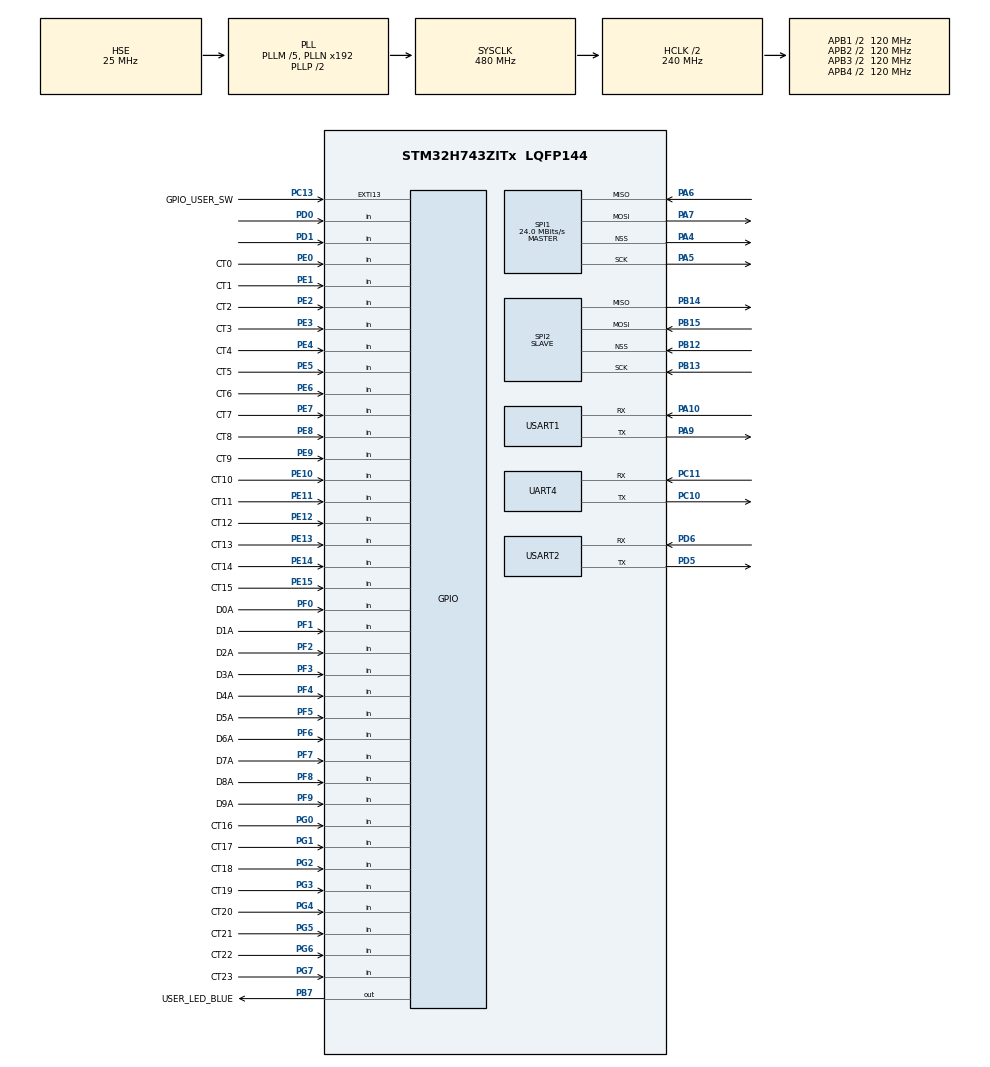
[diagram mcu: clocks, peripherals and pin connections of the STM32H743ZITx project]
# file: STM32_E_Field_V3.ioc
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CORTEX_M7.default_mode_Activation=1
IWDG1.Prescaler=IWDG_PRESCALER_64
IWDG1.Reload=4000
IWDG1.Window=4000
Mcu.Family=STM32H7
Mcu.Name=STM32H743ZITx
Mcu.Package=LQFP144
NVIC.PriorityGroup=NVIC_PRIORITYGROUP_4
PA10.GPIO_Speed=GPIO_SPEED_FREQ_VERY_HIGH
PA10.Mode=Asynchronous
PA10.Signal=USART1_RX
PA13\ (JTMS/SWDIO).Signal=DEBUG_JTMS-SWDIO
PA14\ (JTCK/SWCLK).Signal=DEBUG_JTCK-SWCLK
PA4.Mode=NSS_Signal_Hard_Output
PA4.Signal=SPI1_NSS
PA5.Mode=Full_Duplex_Master
PA5.Signal=SPI1_SCK
PA6.Mode=Full_Duplex_Master
PA6.Signal=SPI1_MISO
PA7.Mode=Full_Duplex_Master
PA7.Signal=SPI1_MOSI
PA9.GPIO_Speed=GPIO_SPEED_FREQ_VERY_HIGH
PA9.Mode=Asynchronous
PA9.Signal=USART1_TX
PB12.Mode=NSS_Signal_Hard_Input
PB12.Signal=SPI2_NSS
PB13.Mode=Full_Duplex_Slave
PB13.Signal=SPI2_SCK
PB14.Mode=Full_Duplex_Slave
PB14.Signal=SPI2_MISO
PB15.Mode=Full_Duplex_Slave
PB15.Signal=SPI2_MOSI
PB7.GPIO_Label=USER_LED_BLUE
PB7.Signal=GPIO_Output
PC10.GPIO_Speed=GPIO_SPEED_FREQ_VERY_HIGH
PC10.Mode=Asynchronous
PC10.Signal=UART4_TX
PC11.GPIO_Speed=GPIO_SPEED_FREQ_VERY_HIGH
PC11.Mode=Asynchronous
PC11.Signal=UART4_RX
PC13.GPIO_Label=GPIO_USER_SW
PC13.Signal=GPXTI13
PD0.Signal=GPIO_Input
PD1.Signal=GPIO_Input
PD5.GPIO_Speed=GPIO_SPEED_FREQ_VERY_HIGH
PD5.Mode=Asynchronous
PD5.Signal=USART2_TX
PD6.GPIO_Speed=GPIO_SPEED_FREQ_VERY_HIGH
PD6.Mode=Asynchronous
PD6.Signal=USART2_RX
PD8.Signal=USART3_TX
PD9.Signal=USART3_RX
PE0.GPIO_Label=CT0
PE0.Signal=GPIO_Input
PE1.GPIO_Label=CT1
PE1.Signal=GPIO_Input
PE10.GPIO_Label=CT10
PE10.Signal=GPIO_Input
PE11.GPIO_Label=CT11
PE11.Signal=GPIO_Input
PE12.GPIO_Label=CT12
PE12.Signal=GPIO_Input
PE13.GPIO_Label=CT13
PE13.Signal=GPIO_Input
PE14.GPIO_Label=CT14
PE14.Signal=GPIO_Input
PE15.GPIO_Label=CT15
PE15.Signal=GPIO_Input
PE2.GPIO_Label=CT2
PE2.Signal=GPIO_Input
PE3.GPIO_Label=CT3
PE3.Signal=GPIO_Input
PE4.GPIO_Label=CT4
PE4.Signal=GPIO_Input
PE5.GPIO_Label=CT5
PE5.Signal=GPIO_Input
PE6.GPIO_Label=CT6
PE6.Signal=GPIO_Input
PE7.GPIO_Label=CT7
PE7.Signal=GPIO_Input
PE8.GPIO_Label=CT8
PE8.Signal=GPIO_Input
PE9.GPIO_Label=CT9
PE9.Signal=GPIO_Input
PF0.GPIO_Label=D0A
PF0.Signal=GPIO_Input
PF1.GPIO_Label=D1A
PF1.Signal=GPIO_Input
PF2.GPIO_Label=D2A
PF2.Signal=GPIO_Input
PF3.GPIO_Label=D3A
PF3.Signal=GPIO_Input
PF4.GPIO_Label=D4A
PF4.Signal=GPIO_Input
PF5.GPIO_Label=D5A
PF5.Signal=GPIO_Input
PF6.GPIO_Label=D6A
PF6.Signal=GPIO_Input
PF7.GPIO_Label=D7A
PF7.Signal=GPIO_Input
PF8.GPIO_Label=D8A
PF8.Signal=GPIO_Input
PF9.GPIO_Label=D9A
PF9.Signal=GPIO_Input
PG0.GPIO_Label=CT16
PG0.Signal=GPIO_Input
PG1.GPIO_Label=CT17
PG1.Signal=GPIO_Input
PG2.GPIO_Label=CT18
PG2.Signal=GPIO_Input
PG3.GPIO_Label=CT19
PG3.Signal=GPIO_Input
PG4.GPIO_Label=CT20
PG4.Signal=GPIO_Input
PG5.GPIO_Label=CT21
PG5.Signal=GPIO_Input
PG6.GPIO_Label=CT22
PG6.Signal=GPIO_Input
PG7.GPIO_Label=CT23
PG7.Signal=GPIO_Input
PH0-OSC_IN\ (PH0).Mode=HSE-External-Oscillator
PH0-OSC_IN\ (PH0).Signal=RCC_OSC_IN
PH1-OSC_OUT\ (PH1).Mode=HSE-External-Oscillator
PH1-OSC_OUT\ (PH1).Signal=RCC_OSC_OUT
ProjectManager.HeapSize=0x200
ProjectManager.StackSize=0x400
ProjectManager.TargetToolchain=STM32CubeIDE
RCC.ADCFreq_Value=50390625
RCC.APB1Freq_Value=120000000
RCC.APB2Freq_Value=120000000
RCC.APB3Freq_Value=120000000
RCC.APB4Freq_Value=120000000
RCC.CortexFreq_Value=480000000
RCC.D1PPRE=RCC_APB3_DIV2
RCC.D2PPRE1=RCC_APB1_DIV2
RCC.D2PPRE2=RCC_APB2_DIV2
RCC.D3PPRE=RCC_APB4_DIV2
RCC.DIVM1=5
RCC.DIVN1=192
RCC.DIVQ1=5
RCC.HCLKFreq_Value=240000000
RCC.HPRE=RCC_HCLK_DIV2
RCC.HSE_VALUE=25000000
RCC.PLLFRACN=0
RCC.PLLSourceVirtual=RCC_PLLSOURCE_HSE
RCC.SYSCLKFreq_VALUE=480000000
RCC.SYSCLKSource=RCC_SYSCLKSOURCE_PLLCLK
RCC.USBFreq_Value=192000000
SPI1.BaudRatePrescaler=SPI_BAUDRATEPRESCALER_8
SPI1.CalculateBaudRate=24.0 MBits/s
SPI1.DataSize=SPI_DATASIZE_8BIT
SPI1.Direction=SPI_DIRECTION_2LINES
SPI1.Mode=SPI_MODE_MASTER
SPI1.NSSPMode=SPI_NSS_PULSE_DISABLE
SPI1.VirtualNSS=VM_NSSHARD
SPI1.VirtualType=VM_MASTER
SPI2.DataSize=SPI_DATASIZE_8BIT
SPI2.Direction=SPI_DIRECTION_2LINES
SPI2.Mode=SPI_MODE_SLAVE
SPI2.VirtualNSS=VM_NSSHARD
SPI2.VirtualType=VM_SLAVE
USART1.VirtualMode-Asynchronous=VM_ASYNC
USART2.VirtualMode-Asynchronous=VM_ASYNC
VP_IWDG1_VS_IWDG.Mode=IWDG_Activate
VP_MEMORYMAP_VS_MEMORYMAP.Mode=CurAppReg
board=custom

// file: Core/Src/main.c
/* USER CODE BEGIN Header */
/**
  ******************************************************************************
  * @file           : main.c
  * @brief          : Main program body
  ******************************************************************************
  * @attention
  *
  * Copyright (c) 2025 STMicroelectronics.
  * All rights reserved.
  *
  ******************************************************************************
  *
  *  === DMA CAPTURE VERSION ==================================================
  *  TIM2 generates an Update event every (1 / SAMPLE_RATE_HZ) seconds.
  *  Each update triggers 4 DMA1 streams that copy GPIOB/E/F/G->IDR into
  *  4 separate circular buffers in AXI SRAM. CPU does ZERO work per sample.
  *
  *  On TRIG (EXTI PD1/PD3) we latch the current DMA write position, then in
  *  the main loop copy the pre-trigger window back into sample[] and run
  *  find_max_min() exactly as before.
  *
  *  >>> THINGS YOU MUST VERIFY FOR YOUR BOARD <<<
  *    1. Buffers MUST live in DMA-accessible RAM (AXI SRAM / SRAM1..3),
  *       NOT DTCM. See the ".axisram" section note below.
  *    2. TIM2_UP / DMA_REQUEST_TIM2_UP / DMA1 streams exist on your part.
  *    3. If D-Cache is ON, the SCB_InvalidateDCache_by_Addr() calls are needed
  *       (already included). aligned(32) + size multiple of 32 is required.
  *    4. EXTI1/EXTI3 IRQHandlers must not also be defined in stm32h7xx_it.c
  *       (remove them there if duplicated).
  *  ==========================================================================
  */
/* USER CODE END Header */
#include "main.h"

/* USER CODE BEGIN Includes */
#include <stdio.h>
#include <string.h>
/* USER CODE END Includes */

/* USER CODE BEGIN PTD */
typedef struct {
	uint16_t data_port_e;
	uint16_t data_port_f;
	uint16_t data_port_g;
} sample_t;

typedef struct {
	int16_t e_adc;
	uint32_t e_t;
	uint32_t counter;
} data_record_t;

typedef struct {
	int16_t max_e_adc;
	uint32_t max_e_t;
	float max_e_inp;
} max_sample_t;

typedef struct {
	int16_t min_e_adc;
	uint32_t min_e_t;
} min_sample_t;

typedef struct {
	uint8_t e_rec_type;
	int16_t e_max_adc;
	int16_t e_min_adc;
	uint32_t e_max_t;
	uint32_t e_min_t;
} record_t;

#define POL_TX_SIZE     4          /* ต้องตรงกับ POL_RX_SIZE ฝั่งรับ */
#define POL_TIMEOUT_MS  1000

typedef enum { POL_NEGATIVE = 0, POL_POSITIVE = 1 } polarity_t;

uint8_t polTxBuf[POL_TX_SIZE];
uint8_t polarity = POL_POSITIVE;   /* global — ยังไม่คิดวิธีหา */

volatile uint32_t trig_pos     = 0;   // DMA write index latched at trigger moment
volatile uint8_t  trigger_flag = 0;
uint32_t captured_count = 0;   // จำนวนที่เก็บได้จริง (global เผื่อ find_max_min ใช้)

/* USER CODE END PTD */

/* USER CODE BEGIN PD */
#define DEBUG_PRINT_DATA_ENABLE
#define DEBUG_SYSTEM_ENABLE

//#define WATCHDOG_DISABLE

#define SETTING_USE_DATASHEET_PARAM
//#define SETTING_INVERT_EW_CHANNEL

#define DELAY_SEC						1
#define MAX_BUF_SIZE					500

#define TB_MODE_0						0
#define TB_MODE_1						~(TB_MODE_0)
#define TB_MODE							TB_MODE_0

#define SAMPLE_READ_MAX					1000
#define ADC_R1         				 	10000.0
#define ADC_R2          				4320.0
#define BUFFER_SIZE 					2000

/* --- DMA sampling configuration ---------------------------------------------
 * TIM2 kernel clock on this clock tree = 240 MHz
 *   (HCLK = 480/2 = 240 MHz, APB1 /2 -> PCLK1 120 MHz, timer x2 -> 240 MHz)
 * ARR = (TIM2_CLK / SAMPLE_RATE_HZ) - 1
 *   1 MHz  -> ARR 239   (1.0 us / sample)
 *   2 MHz  -> ARR 119   (0.5 us / sample)
 *   ~3.3MHz-> ARR  71   (matches old read_adc ~300 ns)
 * Pick a rate the AHB bus + 4 parallel DMA can sustain; start safe, then push.
 */
#define TIM2_CLK_HZ						240000000UL
#define SAMPLE_RATE_HZ					1000000UL
#define TIM2_ARR						((TIM2_CLK_HZ / SAMPLE_RATE_HZ) - 1U)

#ifdef SETTING_USE_DATASHEET_PARAM
	#define ADC_VREF_P						2.048
	#define ADC_VREF_N						0.988
	#define ADC_OFFSET						1.52
#else
	#define ADC_VREF_P						2.003
	#define ADC_VREF_N						0.994
	#define ADC_OFFSET						1.55
#endif
/* USER CODE END PD */

/* USER CODE BEGIN PM */
/* DMA target buffers — MUST be in AXI SRAM (DMA cannot reach DTCM).
 * If your linker has no ".axisram" output section, either:
 *   (a) add one mapping to RAM_D1 (0x24000000) in your .ld, OR
 *   (b) remove the section attribute IF your project's default RAM is AXI SRAM
 *       (many CubeIDE H7 projects default to DTCM — do NOT leave it there).
 * aligned(32) + (BUFFER_SIZE*2) multiple of 32 -> safe for D-Cache maintenance.
 */
/* USER CODE END PM */

IWDG_HandleTypeDef hiwdg1;

SPI_HandleTypeDef hspi1;
SPI_HandleTypeDef hspi2;

UART_HandleTypeDef huart4;
UART_HandleTypeDef huart1;
UART_HandleTypeDef huart2;

/* USER CODE BEGIN PV */
UART_HandleTypeDef *esp_uart;
UART_HandleTypeDef *debug_uart;

sample_t sample[SAMPLE_READ_MAX];
sample_t ordered[SAMPLE_READ_MAX];   // <<< เพิ่มบรรทัดนี้
record_t rec;

/* USER CODE END PV */

void SystemClock_Config(void);
static void MPU_Config(void);
static void MX_GPIO_Init(void);
static void MX_IWDG1_Init(void);
static void MX_UART4_Init(void);
static void MX_USART1_UART_Init(void);
static void MX_USART2_UART_Init(void);
static void MX_SPI1_Init(void);
static void MX_SPI2_Init(void);
/* USER CODE BEGIN PFP */
void find_max_min();
void send_data();
void EXTI0_IRQHandler(void);
void EXTI1_IRQHandler(void);
void HAL_GPIO_EXTI_Callback(uint16_t GPIO_Pin);
void collect_samples(void);
void clear_buffer(void);
void reorder_samples(uint32_t n);
void send_polarity(uint8_t pol);
/* USER CODE END PFP */

/* USER CODE BEGIN 0 */
void delay_sec(int sec){
	int count_500ms = 0;
	do{
		if (HAL_IWDG_Refresh(&hiwdg1) != HAL_OK){
			Error_Handler();
		}
		HAL_Delay(500);
		count_500ms++;
	}while(count_500ms < (sec<<1));
}
/* USER CODE END 0 */

int main(void)
{

  /* MPU Configuration--------------------------------------------------------*/
  MPU_Config();

  /* MCU Configuration--------------------------------------------------------*/

  /* Reset of all peripherals, Initializes the Flash interface and the Systick. */
  HAL_Init();

  /* USER CODE BEGIN Init */
  // -- UART Mapping -- //
  esp_uart = &huart2;
  debug_uart = &huart4;
  /* USER CODE END Init */

  /* Configure the system clock */
  SystemClock_Config();

  /* Initialize all configured peripherals */
  MX_GPIO_Init();
  MX_IWDG1_Init();
  MX_UART4_Init();
  MX_USART1_UART_Init();
  MX_USART2_UART_Init();
  MX_SPI1_Init();
  MX_SPI2_Init();
  /* USER CODE BEGIN 2 */

  // Temp for debug
#ifdef WATCHDOG_DISABLE
  DBGMCU->APB1FZ |= DBGMCU_APB1_FZ_DBG_IWDG_STOP;
#endif

  printf("Last reset cause : ");

  if (__HAL_RCC_GET_FLAG(RCC_FLAG_IWDG1RST))
  {
      printf("IWDG1 timer");
  }
  else if (__HAL_RCC_GET_FLAG(RCC_FLAG_PINRST))
  {
      printf("Reset Pin");
  }
  else if (__HAL_RCC_GET_FLAG(RCC_FLAG_PORRST))
  {
      printf("Power On Reset");
  }
  else if (__HAL_RCC_GET_FLAG(RCC_FLAG_SFTRST))
  {
      printf("Software Reset");
  }
  else
  {
      printf("Other reason");
  }

  printf("\n");

  /* Clear reset flags */
  __HAL_RCC_CLEAR_RESET_FLAGS();

//  printf("Setup :\n");

 // printf("Main program started (DMA capture @ %lu Hz, ARR=%lu)\n",
 //        (unsigned long)SAMPLE_RATE_HZ, (unsigned long)TIM2_ARR);
  HAL_GPIO_WritePin(USER_LED_BLUE_GPIO_Port, USER_LED_BLUE_Pin, 0);
  /* USER CODE END 2 */

  /* Infinite loop */
  while (1)
  {
	 		    HAL_IWDG_Refresh(&hiwdg1);

	 		    collect_samples();          // เก็บจนกว่าจะ trig หรือเต็ม

	 		    if (trigger_flag)           // ถ้ามี trig จริง -> วิเคราะห์
	 		    {
	 		    reorder_samples(captured_count);
	 		    find_max_min();
	 		    send_polarity(polarity);
	 		    // send_data();
	 		    clear_buffer();
	 		    }
  }
  /* USER CODE END 3 */
}

void SystemClock_Config(void)
{
  RCC_OscInitTypeDef RCC_OscInitStruct = {0};
  RCC_ClkInitTypeDef RCC_ClkInitStruct = {0};

  /** Supply configuration update enable
  */
  HAL_PWREx_ConfigSupply(PWR_LDO_SUPPLY);

  /** Configure the main internal regulator output voltage
  */
  __HAL_PWR_VOLTAGESCALING_CONFIG(PWR_REGULATOR_VOLTAGE_SCALE0);

  while(!__HAL_PWR_GET_FLAG(PWR_FLAG_VOSRDY)) {}

  /** Initializes the RCC Oscillators according to the specified parameters
  * in the RCC_OscInitTypeDef structure.
  */
  RCC_OscInitStruct.OscillatorType = RCC_OSCILLATORTYPE_LSI|RCC_OSCILLATORTYPE_HSE;
  RCC_OscInitStruct.HSEState = RCC_HSE_ON;
  RCC_OscInitStruct.LSIState = RCC_LSI_ON;
  RCC_OscInitStruct.PLL.PLLState = RCC_PLL_ON;
  RCC_OscInitStruct.PLL.PLLSource = RCC_PLLSOURCE_HSE;
  RCC_OscInitStruct.PLL.PLLM = 5;
  RCC_OscInitStruct.PLL.PLLN = 192;
  RCC_OscInitStruct.PLL.PLLP = 2;
  RCC_OscInitStruct.PLL.PLLQ = 5;
  RCC_OscInitStruct.PLL.PLLR = 2;
  RCC_OscInitStruct.PLL.PLLRGE = RCC_PLL1VCIRANGE_2;
  RCC_OscInitStruct.PLL.PLLVCOSEL = RCC_PLL1VCOWIDE;
  RCC_OscInitStruct.PLL.PLLFRACN = 0;
  if (HAL_RCC_OscConfig(&RCC_OscInitStruct) != HAL_OK)
  {
    Error_Handler();
  }

  /** Initializes the CPU, AHB and APB buses clocks
  */
  RCC_ClkInitStruct.ClockType = RCC_CLOCKTYPE_HCLK|RCC_CLOCKTYPE_SYSCLK
                              |RCC_CLOCKTYPE_PCLK1|RCC_CLOCKTYPE_PCLK2
                              |RCC_CLOCKTYPE_D3PCLK1|RCC_CLOCKTYPE_D1PCLK1;
  RCC_ClkInitStruct.SYSCLKSource = RCC_SYSCLKSOURCE_PLLCLK;
  RCC_ClkInitStruct.SYSCLKDivider = RCC_SYSCLK_DIV1;
  RCC_ClkInitStruct.AHBCLKDivider = RCC_HCLK_DIV2;
  RCC_ClkInitStruct.APB3CLKDivider = RCC_APB3_DIV2;
  RCC_ClkInitStruct.APB1CLKDivider = RCC_APB1_DIV2;
  RCC_ClkInitStruct.APB2CLKDivider = RCC_APB2_DIV2;
  RCC_ClkInitStruct.APB4CLKDivider = RCC_APB4_DIV2;

  if (HAL_RCC_ClockConfig(&RCC_ClkInitStruct, FLASH_LATENCY_4) != HAL_OK)
  {
    Error_Handler();
  }
}

static void MX_IWDG1_Init(void)
{

  hiwdg1.Instance = IWDG1;
  hiwdg1.Init.Prescaler = IWDG_PRESCALER_64;
  hiwdg1.Init.Window = 4000;
  hiwdg1.Init.Reload = 4000;
  if (HAL_IWDG_Init(&hiwdg1) != HAL_OK)
  {
    Error_Handler();
  }

}

static void MX_SPI1_Init(void)
{

  /* SPI1 parameter configuration*/
  hspi1.Instance = SPI1;
  hspi1.Init.Mode = SPI_MODE_MASTER;
  hspi1.Init.Direction = SPI_DIRECTION_2LINES;
  hspi1.Init.DataSize = SPI_DATASIZE_8BIT;
  hspi1.Init.CLKPolarity = SPI_POLARITY_LOW;
  hspi1.Init.CLKPhase = SPI_PHASE_1EDGE;
  hspi1.Init.NSS = SPI_NSS_HARD_OUTPUT;
  hspi1.Init.BaudRatePrescaler = SPI_BAUDRATEPRESCALER_8;
  hspi1.Init.FirstBit = SPI_FIRSTBIT_MSB;
  hspi1.Init.TIMode = SPI_TIMODE_DISABLE;
  hspi1.Init.CRCCalculation = SPI_CRCCALCULATION_DISABLE;
  hspi1.Init.CRCPolynomial = 0x0;
  hspi1.Init.NSSPMode = SPI_NSS_PULSE_DISABLE;
  hspi1.Init.NSSPolarity = SPI_NSS_POLARITY_LOW;
  hspi1.Init.FifoThreshold = SPI_FIFO_THRESHOLD_01DATA;
  hspi1.Init.TxCRCInitializationPattern = SPI_CRC_INITIALIZATION_ALL_ZERO_PATTERN;
  hspi1.Init.RxCRCInitializationPattern = SPI_CRC_INITIALIZATION_ALL_ZERO_PATTERN;
  hspi1.Init.MasterSSIdleness = SPI_MASTER_SS_IDLENESS_00CYCLE;
  hspi1.Init.MasterInterDataIdleness = SPI_MASTER_INTERDATA_IDLENESS_00CYCLE;
  hspi1.Init.MasterReceiverAutoSusp = SPI_MASTER_RX_AUTOSUSP_DISABLE;
  hspi1.Init.MasterKeepIOState = SPI_MASTER_KEEP_IO_STATE_DISABLE;
  hspi1.Init.IOSwap = SPI_IO_SWAP_DISABLE;
  if (HAL_SPI_Init(&hspi1) != HAL_OK)
  {
    Error_Handler();
  }

}

static void MX_SPI2_Init(void)
{

  /* SPI2 parameter configuration*/
  hspi2.Instance = SPI2;
  hspi2.Init.Mode = SPI_MODE_SLAVE;
  hspi2.Init.Direction = SPI_DIRECTION_2LINES;
  hspi2.Init.DataSize = SPI_DATASIZE_8BIT;
  hspi2.Init.CLKPolarity = SPI_POLARITY_LOW;
  hspi2.Init.CLKPhase = SPI_PHASE_1EDGE;
  hspi2.Init.NSS = SPI_NSS_HARD_INPUT;
  hspi2.Init.FirstBit = SPI_FIRSTBIT_MSB;
  hspi2.Init.TIMode = SPI_TIMODE_DISABLE;
  hspi2.Init.CRCCalculation = SPI_CRCCALCULATION_DISABLE;
  hspi2.Init.CRCPolynomial = 0x0;
  hspi2.Init.NSSPMode = SPI_NSS_PULSE_DISABLE;
  hspi2.Init.NSSPolarity = SPI_NSS_POLARITY_LOW;
  hspi2.Init.FifoThreshold = SPI_FIFO_THRESHOLD_01DATA;
  hspi2.Init.TxCRCInitializationPattern = SPI_CRC_INITIALIZATION_ALL_ZERO_PATTERN;
  hspi2.Init.RxCRCInitializationPattern = SPI_CRC_INITIALIZATION_ALL_ZERO_PATTERN;
  hspi2.Init.MasterSSIdleness = SPI_MASTER_SS_IDLENESS_00CYCLE;
  hspi2.Init.MasterInterDataIdleness = SPI_MASTER_INTERDATA_IDLENESS_00CYCLE;
  hspi2.Init.MasterReceiverAutoSusp = SPI_MASTER_RX_AUTOSUSP_DISABLE;
  hspi2.Init.MasterKeepIOState = SPI_MASTER_KEEP_IO_STATE_DISABLE;
  hspi2.Init.IOSwap = SPI_IO_SWAP_DISABLE;
  if (HAL_SPI_Init(&hspi2) != HAL_OK)
  {
    Error_Handler();
  }

}

static void MX_UART4_Init(void)
{

  huart4.Instance = UART4;
  huart4.Init.BaudRate = 115200;
  huart4.Init.WordLength = UART_WORDLENGTH_8B;
  huart4.Init.StopBits = UART_STOPBITS_1;
  huart4.Init.Parity = UART_PARITY_NONE;
  huart4.Init.Mode = UART_MODE_TX_RX;
  huart4.Init.HwFlowCtl = UART_HWCONTROL_NONE;
  huart4.Init.OverSampling = UART_OVERSAMPLING_16;
  huart4.Init.OneBitSampling = UART_ONE_BIT_SAMPLE_DISABLE;
  huart4.Init.ClockPrescaler = UART_PRESCALER_DIV1;
  huart4.AdvancedInit.AdvFeatureInit = UART_ADVFEATURE_NO_INIT;
  if (HAL_UART_Init(&huart4) != HAL_OK)
  {
    Error_Handler();
  }
  if (HAL_UARTEx_SetTxFifoThreshold(&huart4, UART_TXFIFO_THRESHOLD_1_8) != HAL_OK)
  {
    Error_Handler();
  }
  if (HAL_UARTEx_SetRxFifoThreshold(&huart4, UART_RXFIFO_THRESHOLD_1_8) != HAL_OK)
  {
    Error_Handler();
  }
  if (HAL_UARTEx_DisableFifoMode(&huart4) != HAL_OK)
  {
    Error_Handler();
  }

}

static void MX_USART1_UART_Init(void)
{

  huart1.Instance = USART1;
  huart1.Init.BaudRate = 115200;
  huart1.Init.WordLength = UART_WORDLENGTH_8B;
  huart1.Init.StopBits = UART_STOPBITS_1;
  huart1.Init.Parity = UART_PARITY_NONE;
  huart1.Init.Mode = UART_MODE_TX_RX;
  huart1.Init.HwFlowCtl = UART_HWCONTROL_NONE;
  huart1.Init.OverSampling = UART_OVERSAMPLING_16;
  huart1.Init.OneBitSampling = UART_ONE_BIT_SAMPLE_DISABLE;
  huart1.Init.ClockPrescaler = UART_PRESCALER_DIV1;
  huart1.AdvancedInit.AdvFeatureInit = UART_ADVFEATURE_NO_INIT;
  if (HAL_UART_Init(&huart1) != HAL_OK)
  {
    Error_Handler();
  }
  if (HAL_UARTEx_SetTxFifoThreshold(&huart1, UART_TXFIFO_THRESHOLD_1_8) != HAL_OK)
  {
    Error_Handler();
  }
  if (HAL_UARTEx_SetRxFifoThreshold(&huart1, UART_RXFIFO_THRESHOLD_1_8) != HAL_OK)
  {
    Error_Handler();
  }
  if (HAL_UARTEx_DisableFifoMode(&huart1) != HAL_OK)
  {
    Error_Handler();
  }

}

static void MX_USART2_UART_Init(void)
{

  huart2.Instance = USART2;
  huart2.Init.BaudRate = 115200;
  huart2.Init.WordLength = UART_WORDLENGTH_8B;
  huart2.Init.StopBits = UART_STOPBITS_1;
  huart2.Init.Parity = UART_PARITY_NONE;
  huart2.Init.Mode = UART_MODE_TX_RX;
  huart2.Init.HwFlowCtl = UART_HWCONTROL_NONE;
  huart2.Init.OverSampling = UART_OVERSAMPLING_16;
  huart2.Init.OneBitSampling = UART_ONE_BIT_SAMPLE_DISABLE;
  huart2.Init.ClockPrescaler = UART_PRESCALER_DIV1;
  huart2.AdvancedInit.AdvFeatureInit = UART_ADVFEATURE_NO_INIT;
  if (HAL_UART_Init(&huart2) != HAL_OK)
  {
    Error_Handler();
  }
  if (HAL_UARTEx_SetTxFifoThreshold(&huart2, UART_TXFIFO_THRESHOLD_1_8) != HAL_OK)
  {
    Error_Handler();
  }
  if (HAL_UARTEx_SetRxFifoThreshold(&huart2, UART_RXFIFO_THRESHOLD_1_8) != HAL_OK)
  {
    Error_Handler();
  }
  if (HAL_UARTEx_DisableFifoMode(&huart2) != HAL_OK)
  {
    Error_Handler();
  }

}

static void MX_GPIO_Init(void)
{
  GPIO_InitTypeDef GPIO_InitStruct = {0};

  /* GPIO Ports Clock Enable */
  __HAL_RCC_GPIOE_CLK_ENABLE();
  __HAL_RCC_GPIOC_CLK_ENABLE();
  __HAL_RCC_GPIOF_CLK_ENABLE();
  __HAL_RCC_GPIOH_CLK_ENABLE();
  __HAL_RCC_GPIOA_CLK_ENABLE();
  __HAL_RCC_GPIOG_CLK_ENABLE();
  __HAL_RCC_GPIOB_CLK_ENABLE();
  __HAL_RCC_GPIOD_CLK_ENABLE();

  /*Configure GPIO pin Output Level */
  HAL_GPIO_WritePin(USER_LED_BLUE_GPIO_Port, USER_LED_BLUE_Pin, GPIO_PIN_RESET);

  /*Configure GPIO pins : CT2_Pin CT3_Pin CT4_Pin CT5_Pin
                           CT6_Pin CT7_Pin CT8_Pin CT9_Pin
                           CT10_Pin CT11_Pin CT12_Pin CT13_Pin
                           CT14_Pin CT15_Pin CT0_Pin CT1_Pin */
  GPIO_InitStruct.Pin = CT2_Pin|CT3_Pin|CT4_Pin|CT5_Pin
                          |CT6_Pin|CT7_Pin|CT8_Pin|CT9_Pin
                          |CT10_Pin|CT11_Pin|CT12_Pin|CT13_Pin
                          |CT14_Pin|CT15_Pin|CT0_Pin|CT1_Pin;
  GPIO_InitStruct.Mode = GPIO_MODE_INPUT;
  GPIO_InitStruct.Pull = GPIO_NOPULL;
  HAL_GPIO_Init(GPIOE, &GPIO_InitStruct);

  /*Configure GPIO pin : GPIO_USER_SW_Pin */
  GPIO_InitStruct.Pin = GPIO_USER_SW_Pin;
  GPIO_InitStruct.Mode = GPIO_MODE_IT_RISING;
  GPIO_InitStruct.Pull = GPIO_NOPULL;
  HAL_GPIO_Init(GPIO_USER_SW_GPIO_Port, &GPIO_InitStruct);

  /*Configure GPIO pins : D0A_Pin D1A_Pin D2A_Pin D3A_Pin
                           D4A_Pin D5A_Pin D6A_Pin D7A_Pin
                           D8A_Pin D9A_Pin */
  GPIO_InitStruct.Pin = D0A_Pin|D1A_Pin|D2A_Pin|D3A_Pin
                          |D4A_Pin|D5A_Pin|D6A_Pin|D7A_Pin
                          |D8A_Pin|D9A_Pin;
  GPIO_InitStruct.Mode = GPIO_MODE_INPUT;
  GPIO_InitStruct.Pull = GPIO_NOPULL;
  HAL_GPIO_Init(GPIOF, &GPIO_InitStruct);

  /*Configure GPIO pins : CT16_Pin CT17_Pin CT18_Pin CT19_Pin
                           CT20_Pin CT21_Pin CT22_Pin CT23_Pin */
  GPIO_InitStruct.Pin = CT16_Pin|CT17_Pin|CT18_Pin|CT19_Pin
                          |CT20_Pin|CT21_Pin|CT22_Pin|CT23_Pin;
  GPIO_InitStruct.Mode = GPIO_MODE_INPUT;
  GPIO_InitStruct.Pull = GPIO_NOPULL;
  HAL_GPIO_Init(GPIOG, &GPIO_InitStruct);

  /*Configure GPIO pins : PD8 PD9 */
  GPIO_InitStruct.Pin = GPIO_PIN_8|GPIO_PIN_9;
  GPIO_InitStruct.Mode = GPIO_MODE_AF_PP;
  GPIO_InitStruct.Pull = GPIO_NOPULL;
  GPIO_InitStruct.Speed = GPIO_SPEED_FREQ_LOW;
  GPIO_InitStruct.Alternate = GPIO_AF7_USART3;
  HAL_GPIO_Init(GPIOD, &GPIO_InitStruct);

  /*Configure GPIO pins : PD0 PD1 */
  GPIO_InitStruct.Pin = GPIO_PIN_0|GPIO_PIN_1;
  GPIO_InitStruct.Mode = GPIO_MODE_INPUT;
  GPIO_InitStruct.Pull = GPIO_NOPULL;
  HAL_GPIO_Init(GPIOD, &GPIO_InitStruct);

  /*Configure GPIO pin : USER_LED_BLUE_Pin */
  GPIO_InitStruct.Pin = USER_LED_BLUE_Pin;
  GPIO_InitStruct.Mode = GPIO_MODE_OUTPUT_PP;
  GPIO_InitStruct.Pull = GPIO_NOPULL;
  GPIO_InitStruct.Speed = GPIO_SPEED_FREQ_LOW;
  HAL_GPIO_Init(USER_LED_BLUE_GPIO_Port, &GPIO_InitStruct);

  /* USER CODE BEGIN MX_GPIO_Init_2 */
  HAL_NVIC_SetPriority(EXTI0_IRQn, 0, 0);
  HAL_NVIC_EnableIRQ(EXTI0_IRQn);
  HAL_NVIC_SetPriority(EXTI1_IRQn, 0, 0);
  HAL_NVIC_EnableIRQ(EXTI1_IRQn);
  /* USER CODE END MX_GPIO_Init_2 */
}

/* USER CODE BEGIN 4 */
int16_t convert_number(uint16_t data){
	int16_t value;
#if TB_MODE == TB_MODE_0
		if((data & 0x0200) > 0){
			// Positive
			value = data & 0x01ff;
		}else{
			// Negative
			value = -(((~data + 1) & 0x01ff));
		}
#else
		if((data & 0x0200) > 0){
			// Negative
			value = -(~data + 0x0001);
		} else{
			// Positive
			value = data & 0x01ff;
		}
#endif
	return value;
}

void send_data(){
	char send_buf[MAX_BUF_SIZE];
	uint8_t chksum = 0xa5;			// Temp, the checksum should be a calculated one.

	sprintf(send_buf, "$STMFIELD,%d,%lu,%d,%lu*%02X\r\n", rec.e_max_adc, rec.e_max_t, rec.e_min_adc, rec.e_min_t, chksum);
	HAL_UART_Transmit(esp_uart, (uint8_t*)send_buf, strlen(send_buf), HAL_MAX_DELAY);
#ifdef DEBUG_SYSTEM_ENABLE
	printf("\nSend update to ESP32 = %s\n",send_buf);
#endif
}

float cal_voltage_adc(int16_t adc_val){
	return ((ADC_VREF_P - ADC_VREF_N) * adc_val / 512) + ADC_OFFSET;
}

float cal_voltage_inp(float vol_adc){
	return ((vol_adc - 1.5) / (ADC_R2 / (ADC_R1 + ADC_R2)));
}
void send_polarity(uint8_t pol)
{
    polTxBuf[0] = pol;
    polTxBuf[1] = 0;
    polTxBuf[2] = 0;
    polTxBuf[3] = (uint8_t)(pol ^ 0xA5);      /* ไบต์ตรวจสอบง่าย ๆ */

    if (HAL_SPI_Transmit(&hspi1, polTxBuf, POL_TX_SIZE, POL_TIMEOUT_MS) != HAL_OK)
    {
        HAL_SPI_Abort(&hspi1);
    }
}

void reorder_samples(uint32_t n)
		{
    if (n >= SAMPLE_READ_MAX) {
        memcpy(ordered, sample, sizeof(sample));
        return;
    }
    uint32_t idx = 0;
    for (uint32_t i = n; i < SAMPLE_READ_MAX; i++)   // ส่วนเก่า
        ordered[idx++] = sample[i];
    for (uint32_t i = 0; i < n; i++)                 // ส่วนใหม่
        ordered[idx++] = sample[i];
		}
void find_max_min(){

	int count;
	sample_t *p_sample;
	uint16_t adc_data_a;
	int16_t adc_value_a;
	uint32_t counter = 0;

	rec.e_max_adc = 0;
	rec.e_min_adc = 0;
	rec.e_max_t = 10000000;
	rec.e_min_t = 10000000;
	polarity = POL_POSITIVE;  //ยังไม่รู้วิธีหา
	count = 0;
	p_sample = ordered;;

	do{
		// Read ADC
		adc_data_a = p_sample->data_port_f & 0x03ff; // D0-D9 (PF0-PF9)

		// Read Counter
		counter = 0;
		counter |= (uint32_t)(p_sample->data_port_e & 0xFFFF);         // C0-C15  (PE0-PE15)
		counter |= (uint32_t)(p_sample->data_port_g & 0x00FF) << 16;   // C16-C23 (PG0-PG7)

		// Convert the adc_data to adc_value
		adc_value_a = convert_number(adc_data_a);

		// Find Max/Min of N-S
		if(adc_value_a > rec.e_max_adc && adc_value_a <= 450){
			rec.e_max_adc = adc_value_a;
			rec.e_max_t = counter;
		}else if (adc_value_a < rec.e_min_adc && adc_value_a >= -450){
			rec.e_min_adc = adc_value_a;
			rec.e_min_t = counter;
		}

		p_sample++;
#ifdef DEBUG_PRINT_DATA_ENABLE
		printf("%d, %lu, %d\n", count, counter, adc_value_a);
#endif
	} while(++count < SAMPLE_READ_MAX);
	printf("--- End of Counter Data ---\n\n");
}
void collect_samples(void)
{
    uint32_t n = 0;
    sample_t *p = sample;

    trigger_flag = 0;   // เคลียร์ก่อนเริ่มเก็บรอบใหม่

    // เก็บไปเรื่อย ๆ จนกว่าจะ trig หรือครบ 1000
    while (n < SAMPLE_READ_MAX)
    {
        p->data_port_e = GPIOE->IDR;
        p->data_port_f = GPIOF->IDR;
        p->data_port_g = GPIOG->IDR;
        p++;
        n++;

        if (trigger_flag)   // trig เข้า -> หยุดทันที (เช่นหยุดที่ 500)
            break;
    }

    captured_count = n;   // จำเลขไว้ให้ find_max_min ใช้
}

void EXTI0_IRQHandler(void)
{
    HAL_GPIO_EXTI_IRQHandler(GPIO_PIN_0);
}

void EXTI1_IRQHandler(void)
{
    HAL_GPIO_EXTI_IRQHandler(GPIO_PIN_1);
}
void HAL_GPIO_EXTI_Callback(uint16_t GPIO_Pin)
{
    if (GPIO_Pin == GPIO_PIN_0 || GPIO_Pin == GPIO_PIN_1)
    {
        trigger_flag = 1;
    }
    else if (GPIO_Pin == GPIO_USER_SW_Pin)
    {
        __NOP();   // user switch — add handling if needed
    }
}

// Overwite the _write function that defined in syscall.c
int _write(int file, char *ptr, int len)
{
    HAL_UART_Transmit(debug_uart, (uint8_t *)ptr, len, HAL_MAX_DELAY);
    return len;
}
/* USER CODE END 4 */

 /* MPU Configuration */

void MPU_Config(void)
{
  MPU_Region_InitTypeDef MPU_InitStruct = {0};

  /* Disables the MPU */
  HAL_MPU_Disable();

  /** Initializes and configures the Region and the memory to be protected
  */
  MPU_InitStruct.Enable = MPU_REGION_ENABLE;
  MPU_InitStruct.Number = MPU_REGION_NUMBER0;
  MPU_InitStruct.BaseAddress = 0x0;
  MPU_InitStruct.Size = MPU_REGION_SIZE_4GB;
  MPU_InitStruct.SubRegionDisable = 0x87;
  MPU_InitStruct.TypeExtField = MPU_TEX_LEVEL0;
  MPU_InitStruct.AccessPermission = MPU_REGION_NO_ACCESS;
  MPU_InitStruct.DisableExec = MPU_INSTRUCTION_ACCESS_DISABLE;
  MPU_InitStruct.IsShareable = MPU_ACCESS_SHAREABLE;
  MPU_InitStruct.IsCacheable = MPU_ACCESS_NOT_CACHEABLE;
  MPU_InitStruct.IsBufferable = MPU_ACCESS_NOT_BUFFERABLE;

  HAL_MPU_ConfigRegion(&MPU_InitStruct);
  /* Enables the MPU */
  HAL_MPU_Enable(MPU_PRIVILEGED_DEFAULT);

}

void Error_Handler(void)
{
  __disable_irq();
  while (1)
  {
  }
}
void clear_buffer(void)
{
    memset(sample, 0, sizeof(sample));
}
